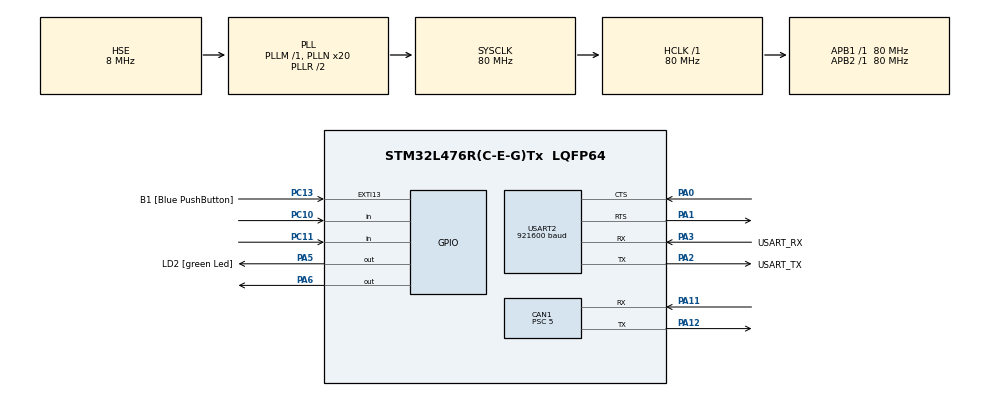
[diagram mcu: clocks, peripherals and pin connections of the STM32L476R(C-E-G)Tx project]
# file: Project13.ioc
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CAN1.ABOM=ENABLE
CAN1.BS1=CAN_BS1_13TQ
CAN1.BS2=CAN_BS2_2TQ
CAN1.CalculateBaudRate=1000000
CAN1.CalculateTimeBit=1000
CAN1.CalculateTimeQuantum=62.5
CAN1.NART=ENABLE
CAN1.Prescaler=5
Mcu.Family=STM32L4
Mcu.Name=STM32L476R(C-E-G)Tx
Mcu.Package=LQFP64
NVIC.CAN1_TX_IRQn=true\:0\:0\:false\:false\:true\:true\:true\:true
NVIC.EXTI15_10_IRQn=true\:0\:0\:false\:false\:true\:true\:true\:true
NVIC.PriorityGroup=NVIC_PRIORITYGROUP_4
NVIC.TIM6_DAC_IRQn=true\:0\:0\:false\:false\:true\:true\:true\:true
PA0.Mode=CTS_RTS
PA0.Signal=USART2_CTS
PA1.Mode=CTS_RTS
PA1.Signal=USART2_RTS
PA11.Mode=CAN_Activate
PA11.Signal=CAN1_RX
PA12.Mode=CAN_Activate
PA12.Signal=CAN1_TX
PA13\ (JTMS-SWDIO).GPIO_Label=TMS
PA13\ (JTMS-SWDIO).Mode=Serial_Wire
PA13\ (JTMS-SWDIO).Signal=SYS_JTMS-SWDIO
PA14\ (JTCK-SWCLK).GPIO_Label=TCK
PA14\ (JTCK-SWCLK).Mode=Serial_Wire
PA14\ (JTCK-SWCLK).Signal=SYS_JTCK-SWCLK
PA2.GPIO_Label=USART_TX
PA2.GPIO_Mode=GPIO_MODE_AF_PP
PA2.GPIO_PuPd=GPIO_NOPULL
PA2.GPIO_Speed=GPIO_SPEED_FREQ_VERY_HIGH
PA2.Mode=Asynchronous
PA2.Signal=USART2_TX
PA3.GPIO_Label=USART_RX
PA3.GPIO_Mode=GPIO_MODE_AF_PP
PA3.GPIO_PuPd=GPIO_NOPULL
PA3.GPIO_Speed=GPIO_SPEED_FREQ_VERY_HIGH
PA3.Mode=Asynchronous
PA3.Signal=USART2_RX
PA5.GPIO_Label=LD2 [green Led]
PA5.GPIO_ModeDefaultOutputPP=GPIO_MODE_OUTPUT_PP
PA5.GPIO_PuPd=GPIO_NOPULL
PA5.GPIO_Speed=GPIO_SPEED_FREQ_LOW
PA5.Signal=GPIO_Output
PA6.Signal=GPIO_Output
PB3\ (JTDO-TRACESWO).GPIO_Label=SWO
PB3\ (JTDO-TRACESWO).Signal=SYS_JTDO-SWO
PC10.Signal=GPIO_Input
PC11.Signal=GPIO_Input
PC13.GPIO_Label=B1 [Blue PushButton]
PC13.GPIO_ModeDefaultEXTI=GPIO_MODE_IT_RISING
PC13.GPIO_PuPd=GPIO_NOPULL
PC13.Signal=GPXTI13
PC14-OSC32_IN\ (PC14).Signal=RCC_OSC32_IN
PC15-OSC32_OUT\ (PC15).Signal=RCC_OSC32_OUT
PH0-OSC_IN\ (PH0).Mode=HSE-External-Clock-Source
PH0-OSC_IN\ (PH0).Signal=RCC_OSC_IN
PH1-OSC_OUT\ (PH1).Signal=RCC_OSC_OUT
ProjectManager.HeapSize=0x200
ProjectManager.StackSize=0x400
ProjectManager.TargetToolchain=STM32CubeIDE
RCC.ADCFreq_Value=32000000
RCC.AHBFreq_Value=80000000
RCC.APB1Freq_Value=80000000
RCC.APB1TimFreq_Value=80000000
RCC.APB2Freq_Value=80000000
RCC.APB2TimFreq_Value=80000000
RCC.CortexFreq_Value=80000000
RCC.HCLKFreq_Value=80000000
RCC.HSE_VALUE=8000000
RCC.HSI_VALUE=16000000
RCC.LSE_VALUE=32768
RCC.MSI_VALUE=4000000
RCC.PLLN=20
RCC.PLLSourceVirtual=RCC_PLLSOURCE_HSE
RCC.PREFETCH_ENABLE=1
RCC.SYSCLKFreq_VALUE=80000000
RCC.SYSCLKSource=RCC_SYSCLKSOURCE_PLLCLK
RCC.USBFreq_Value=32000000
RCC.VCOOutputFreq_Value=160000000
TIM6.Period=50000-1
TIM6.Prescaler=4-1
USART2.AutoBaudRateEnableParam=UART_ADVFEATURE_AUTOBAUDRATE_DISABLE
USART2.BaudRate=921600
USART2.OverSampling=UART_OVERSAMPLING_8
USART2.VirtualMode-Asynchronous=VM_ASYNC
VP_TIM6_VS_ClockSourceINT.Mode=Enable_Timer
board=NUCLEO-L476RG

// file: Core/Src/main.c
/* USER CODE BEGIN Header */
/**
 ******************************************************************************
 * AUTHOR:  Mohammad Ghanatian, PhD Student, Department of Mechanical Engineering, The University of Alabama
 *
 *
 * @file           : main.c
 * @brief          : Main program body
 ******************************************************************************
 * @attention
 *
 * Copyright (c) 2024 STMicroelectronics.
 * All rights reserved.
 *
 * This software is licensed under terms that can be found in the LICENSE file
 * in the root directory of this software component.
 * If no LICENSE file comes with this software, it is provided AS-IS.
 *
 ******************************************************************************
 */
/* USER CODE END Header */
#include "main.h"

/* USER CODE BEGIN Includes */
#include <string.h>
#include <stdio.h>
#include <stdint.h>
#include <math.h>

/* USER CODE END Includes */

/* USER CODE BEGIN PTD */
/* Global Variables */
volatile uint8_t msg_ready = 0;
volatile uint8_t update_control_params = 0;
volatile uint8_t update_button=0;
volatile char uart_msg_buffer[50];
/* USER CODE END PTD */

CAN_HandleTypeDef hcan1;

TIM_HandleTypeDef htim6;

UART_HandleTypeDef huart2;

/* USER CODE BEGIN PV */
// limit data to be within bounds (specific to the AK80-9 motor)
#define P_MIN -12.5f	//position
#define P_MAX 12.5f
#define V_MIN -50.0f	//velocity
#define V_MAX 50.0f
#define T_MIN -18.0f	//torque
#define T_MAX 18.0f
#define Kp_MIN 0.0f
#define Kp_MAX 500.0f
#define Kd_MIN 0.0f
#define Kd_MAX 5.0f

/* USER CODE END PV */

void SystemClock_Config(void);
static void MX_GPIO_Init(void);
static void MX_USART2_UART_Init(void);
static void MX_CAN1_Init(void);
static void MX_TIM6_Init(void);
/* USER CODE BEGIN PFP */
void CAN1_Tx_motor_on(int);
void CAN1_Tx_motor_zero(int);
void CAN1_Tx_motor_off(int);
void CAN1_Rx_message_read(void);
float interpolateHipAngle(float);
float interpolateKneeAngle(float);
void Stop_Motors(int, int, int, int);

/* Function Prototypes */
void handleRightButtonPress();
void handleLeftButtonPress();
void updateControlParameters();
void updateRamp(int motorIdx); // NEW: Prototype for updateRamp function

// Prototype of the template function

/* USER CODE END PFP */

/* USER CODE BEGIN 0 */
CAN_TxHeaderTypeDef TxHeader;
CAN_RxHeaderTypeDef RxHeader;

uint8_t TxData[8];	//08 bytes of data transmit array, data type dictated by HAL
uint8_t RxData[8];	//08 bytes of data receive array, data type dictated by HAL

uint32_t TxMailbox;	//data type dictated by HAL

int heelSwitchLeft=2;
int heelSwitchRight=0;

int previous_heelSwitchRight = 0;
int previous_heelSwitchLeft = 0;

//Receiving parameter variables
//for motor 1
float position_1 = 0;
float velocity_1 = 0;
float torque_1 = 0;
float temp_1 = 0;
//for motor 2
float position_2 = 0;
float velocity_2 = 0;
float torque_2 = 0;
float temp_2 = 0;
//for motor 3
float position_3 = 0;
float velocity_3 = 0;
float torque_3 = 0;
float temp_3 = 0;
//for motor 4
float position_4 = 0;
float velocity_4 = 0;
float torque_4 = 0;
float temp_4 = 0;

float wPos1 = 0;
float wPos2 = 0;
float wPos3 = 0;
float wPos4 = 0;

float posF1 = 0;
float posF2 = 0;
float posF3 = 0;
float posF4 = 0;

float rAngle1=0;
float rAngle2=0;
float rAngle3=0;
float rAngle4=0;

//********************************************************************************

// PID variables
int motorID1 = 1;
int motorID2 = 2;
int motorID3 = 3;
int motorID4 = 4;

int motorActivated1 = 1;
int motorActivated2 = 1;
int motorActivated3 = 1;
int motorActivated4 = 1;

double Kp1;
double Kd1;

double Kp2;
double Kd2;

double Kp3;
double Kd3;

double Kp4;
double Kd4;

double samplingTime = 2.5;	//ms

double error1, lastError1 = 0;
double integral1 = 0;
double derivative1;
float torqueF1 = 0;
float speedF1 = 0;
float lastPos1;
float torqSignal1 = 0;

double error2, lastError2 = 0;
double integral2 = 0;
double derivative2;
float torqueF2 = 0;
float speedF2 = 0;
float lastPos2;
float torqSignal2 = 0;

double error3, lastError3 = 0;
double integral3 = 0;
double derivative3;
float torqueF3 = 0;
float speedF3 = 0;
float lastPos3;
float torqSignal3 = 0;

double error4, lastError4 = 0;
double integral4 = 0;
double derivative4;
float torqueF4 = 0;
float speedF4 = 0;
float lastPos4;
float torqSignal4 = 0;

float startTime = 0;
float currentTime = 0;
float ttime = 0;
float ttime1 = 0;
float ttime2 = 0;

uint32_t RAMP_DURATION = 40; // ms

// MODIFIED Ramp Struct for smooth transitions
typedef struct {
    float start;        // Starting value of the ramp
    float target;       // Desired final value of the ramp
    float current;      // Current value during the ramp
    uint32_t startTime; // Tick count when the ramp started
    uint8_t active;     // Flag to indicate if a ramp is in progress (using uint8_t as boolean)
    uint32_t duration;  // Duration of the ramp in milliseconds
} Ramp;

Ramp ramp[4]; // One for each rAngle1 to rAngle4

//********************************************************************************

float saturate(float x, float x_min, float x_max) {
	if (x < x_min)
		x = x_min;
	else if (x > x_max)
		x = x_max;
	return x;
}

//When sending packets, all numbers need to go through the following function to be converted into integer values before being sent to the motor
int float_to_uint(float x, float x_min, float x_max, unsigned int bits) {
	//Converts a float to an unsigned int, given range and number of intended bits
	float span = x_max - x_min;
	if (x < x_min)
		x = x_min;
	else if (x > x_max)
		x = x_max;
	return (int) ((x - x_min) * ((float) ((1 << bits) / span)));
}

//When receiving, convert all values to floating-point numbers using the following function
float uint_to_float(int x_int, float x_min, float x_max, int bits) {
	// converts unsigned int to float, given range and number of intended bits
	float span = x_max - x_min;
	float offset = x_min;
	return ((float) x_int) * span / ((float) ((1 << bits) - 1)) + offset;
}

/* USER CODE END 0 */

int main(void)
{

  /* MCU Configuration--------------------------------------------------------*/

  /* Reset of all peripherals, Initializes the Flash interface and the Systick. */
  HAL_Init();

  /* Configure the system clock */
  SystemClock_Config();

  /* Initialize all configured peripherals */
  MX_GPIO_Init();
  MX_USART2_UART_Init();
  MX_CAN1_Init();
  MX_TIM6_Init();
  /* USER CODE BEGIN 2 */
	if (HAL_CAN_Start(&hcan1) != HAL_OK) //CAN is started and checked for error.
			{
		Error_Handler();
	}
	CAN1_Tx_motor_on(motorID1);
	CAN1_Rx_message_read();

	CAN1_Tx_motor_zero(motorID1);
	CAN1_Rx_message_read();

	char msg[50];
	sprintf(msg, "Motor 1 Initialized!\r\n");
	HAL_UART_Transmit(&huart2, (uint8_t*) msg, strlen(msg), HAL_MAX_DELAY);

	CAN1_Tx_motor_on(motorID2);
	CAN1_Rx_message_read();

	CAN1_Tx_motor_zero(motorID2);
	CAN1_Rx_message_read();

	sprintf(msg, "Motor 2 Initialized!\r\n");
	HAL_UART_Transmit(&huart2, (uint8_t*) msg, strlen(msg), HAL_MAX_DELAY);

	CAN1_Tx_motor_on(motorID3);
	CAN1_Rx_message_read();

	CAN1_Tx_motor_zero(motorID3);
	CAN1_Rx_message_read();

	sprintf(msg, "Motor 3 Initialized!\r\n");
	HAL_UART_Transmit(&huart2, (uint8_t*) msg, strlen(msg), HAL_MAX_DELAY);

	CAN1_Tx_motor_on(motorID4);
	CAN1_Rx_message_read();

	CAN1_Tx_motor_zero(motorID4);
	CAN1_Rx_message_read();

	sprintf(msg, "Motor 4 Initialized!\r\n");
	HAL_UART_Transmit(&huart2, (uint8_t*) msg, strlen(msg), HAL_MAX_DELAY);

	// Start timer
	HAL_TIM_Base_Start_IT(&htim6);

	// MODIFIED: Initialize the ramps
	for (int i = 0; i < 4; i++) {
	    ramp[i].active = 0;     // Not active initially
	    ramp[i].current = 0.0f; // Start at 0 radians (or your initial desired position)
	    ramp[i].target = 0.0f;  // Target also 0 initially
	    ramp[i].start = 0.0f;   // Start of ramp also 0
	    ramp[i].startTime = 0;  // No start time yet
	    ramp[i].duration = RAMP_DURATION; // Use the defined constant
	}

//	cycle = 0;

  /* USER CODE END 2 */

  /* Infinite loop */
  while (1)
  {

    /* USER CODE BEGIN 3 */

	  if (update_control_params) {
	      updateControlParameters();
	      update_control_params = 0;
	  }

	  if (update_button) {
		  updateButtons();
		  update_button = 0;
	  }
  }
  /* USER CODE END 3 */
}

void SystemClock_Config(void)
{
  RCC_OscInitTypeDef RCC_OscInitStruct = {0};
  RCC_ClkInitTypeDef RCC_ClkInitStruct = {0};

  /** Configure the main internal regulator output voltage
  */
  if (HAL_PWREx_ControlVoltageScaling(PWR_REGULATOR_VOLTAGE_SCALE1) != HAL_OK)
  {
    Error_Handler();
  }

  /** Initializes the RCC Oscillators according to the specified parameters
  * in the RCC_OscInitTypeDef structure.
  */
  RCC_OscInitStruct.OscillatorType = RCC_OSCILLATORTYPE_HSE;
  RCC_OscInitStruct.HSEState = RCC_HSE_BYPASS;
  RCC_OscInitStruct.PLL.PLLState = RCC_PLL_ON;
  RCC_OscInitStruct.PLL.PLLSource = RCC_PLLSOURCE_HSE;
  RCC_OscInitStruct.PLL.PLLM = 1;
  RCC_OscInitStruct.PLL.PLLN = 20;
  RCC_OscInitStruct.PLL.PLLP = RCC_PLLP_DIV7;
  RCC_OscInitStruct.PLL.PLLQ = RCC_PLLQ_DIV2;
  RCC_OscInitStruct.PLL.PLLR = RCC_PLLR_DIV2;
  if (HAL_RCC_OscConfig(&RCC_OscInitStruct) != HAL_OK)
  {
    Error_Handler();
  }

  /** Initializes the CPU, AHB and APB buses clocks
  */
  RCC_ClkInitStruct.ClockType = RCC_CLOCKTYPE_HCLK|RCC_CLOCKTYPE_SYSCLK
                              |RCC_CLOCKTYPE_PCLK1|RCC_CLOCKTYPE_PCLK2;
  RCC_ClkInitStruct.SYSCLKSource = RCC_SYSCLKSOURCE_PLLCLK;
  RCC_ClkInitStruct.AHBCLKDivider = RCC_SYSCLK_DIV1;
  RCC_ClkInitStruct.APB1CLKDivider = RCC_HCLK_DIV1;
  RCC_ClkInitStruct.APB2CLKDivider = RCC_HCLK_DIV1;

  if (HAL_RCC_ClockConfig(&RCC_ClkInitStruct, FLASH_LATENCY_4) != HAL_OK)
  {
    Error_Handler();
  }
}

static void MX_CAN1_Init(void)
{

  hcan1.Instance = CAN1;
  hcan1.Init.Prescaler = 5;
  hcan1.Init.Mode = CAN_MODE_NORMAL;
  hcan1.Init.SyncJumpWidth = CAN_SJW_1TQ;
  hcan1.Init.TimeSeg1 = CAN_BS1_13TQ;
  hcan1.Init.TimeSeg2 = CAN_BS2_2TQ;
  hcan1.Init.TimeTriggeredMode = DISABLE;
  hcan1.Init.AutoBusOff = ENABLE;
  hcan1.Init.AutoWakeUp = DISABLE;
  hcan1.Init.AutoRetransmission = ENABLE;
  hcan1.Init.ReceiveFifoLocked = DISABLE;
  hcan1.Init.TransmitFifoPriority = DISABLE;
  if (HAL_CAN_Init(&hcan1) != HAL_OK)
  {
    Error_Handler();
  }
  /* USER CODE BEGIN CAN1_Init 2 */

	//This is the CAN filter configuration (part of the CAN_INIT code)
	CAN_FilterTypeDef canfilterconfig;

	canfilterconfig.FilterActivation = CAN_FILTER_ENABLE;
	canfilterconfig.FilterBank = 0; // which filter bank to use from the assigned ones
	canfilterconfig.FilterFIFOAssignment = CAN_RX_FIFO0; //this has to be mentioned (FIFO0/ FIFO1)
	canfilterconfig.FilterIdHigh = 0; //Next 04 lines --> no filter mask protocol is going on. All messages are allowed to pass to Nucleo (Accept all frames)
	canfilterconfig.FilterIdLow = 0x0000;
	canfilterconfig.FilterMaskIdHigh = 0;
	canfilterconfig.FilterMaskIdLow = 0x0000;
	canfilterconfig.FilterMode = CAN_FILTERMODE_IDMASK;
	canfilterconfig.FilterScale = CAN_FILTERSCALE_32BIT;
	canfilterconfig.SlaveStartFilterBank = 0; // how many filters to assign to the CAN1 (master can)

	if (HAL_CAN_ConfigFilter(&hcan1, &canfilterconfig) != HAL_OK) {
		Error_Handler();
	}
  /* USER CODE END CAN1_Init 2 */

}

static void MX_TIM6_Init(void)
{

  TIM_MasterConfigTypeDef sMasterConfig = {0};

  htim6.Instance = TIM6;
  htim6.Init.Prescaler = 4-1;
  htim6.Init.CounterMode = TIM_COUNTERMODE_UP;
  htim6.Init.Period = 50000-1;
  htim6.Init.AutoReloadPreload = TIM_AUTORELOAD_PRELOAD_DISABLE;
  if (HAL_TIM_Base_Init(&htim6) != HAL_OK)
  {
    Error_Handler();
  }
  sMasterConfig.MasterOutputTrigger = TIM_TRGO_RESET;
  sMasterConfig.MasterSlaveMode = TIM_MASTERSLAVEMODE_DISABLE;
  if (HAL_TIMEx_MasterConfigSynchronization(&htim6, &sMasterConfig) != HAL_OK)
  {
    Error_Handler();
  }

}

static void MX_USART2_UART_Init(void)
{

  huart2.Instance = USART2;
  huart2.Init.BaudRate = 921600;
  huart2.Init.WordLength = UART_WORDLENGTH_8B;
  huart2.Init.StopBits = UART_STOPBITS_1;
  huart2.Init.Parity = UART_PARITY_NONE;
  huart2.Init.Mode = UART_MODE_TX_RX;
  huart2.Init.HwFlowCtl = UART_HWCONTROL_RTS_CTS;
  huart2.Init.OverSampling = UART_OVERSAMPLING_8;
  huart2.Init.OneBitSampling = UART_ONE_BIT_SAMPLE_DISABLE;
  huart2.AdvancedInit.AdvFeatureInit = UART_ADVFEATURE_NO_INIT;
  if (HAL_UART_Init(&huart2) != HAL_OK)
  {
    Error_Handler();
  }

}

static void MX_GPIO_Init(void)
{
  GPIO_InitTypeDef GPIO_InitStruct = {0};

  /* GPIO Ports Clock Enable */
  __HAL_RCC_GPIOC_CLK_ENABLE();
  __HAL_RCC_GPIOH_CLK_ENABLE();
  __HAL_RCC_GPIOA_CLK_ENABLE();
  __HAL_RCC_GPIOB_CLK_ENABLE();

  /*Configure GPIO pin Output Level */
  HAL_GPIO_WritePin(GPIOA, LD2_Pin|GPIO_PIN_6, GPIO_PIN_RESET);

  /*Configure GPIO pin : B1_Pin */
  GPIO_InitStruct.Pin = B1_Pin;
  GPIO_InitStruct.Mode = GPIO_MODE_IT_RISING;
  GPIO_InitStruct.Pull = GPIO_NOPULL;
  HAL_GPIO_Init(B1_GPIO_Port, &GPIO_InitStruct);

  /*Configure GPIO pins : LD2_Pin PA6 */
  GPIO_InitStruct.Pin = LD2_Pin|GPIO_PIN_6;
  GPIO_InitStruct.Mode = GPIO_MODE_OUTPUT_PP;
  GPIO_InitStruct.Pull = GPIO_NOPULL;
  GPIO_InitStruct.Speed = GPIO_SPEED_FREQ_LOW;
  HAL_GPIO_Init(GPIOA, &GPIO_InitStruct);

  /*Configure GPIO pins : PC10 PC11 */
  GPIO_InitStruct.Pin = GPIO_PIN_10|GPIO_PIN_11;
  GPIO_InitStruct.Mode = GPIO_MODE_INPUT;
  GPIO_InitStruct.Pull = GPIO_NOPULL;
  HAL_GPIO_Init(GPIOC, &GPIO_InitStruct);

  /* EXTI interrupt init*/
  HAL_NVIC_SetPriority(EXTI15_10_IRQn, 0, 0);
  HAL_NVIC_EnableIRQ(EXTI15_10_IRQn);

}

/* USER CODE BEGIN 4 */

void CAN1_Tx_motor_on(int motor_id) {
	TxHeader.DLC = 8;	//data length
	TxHeader.ExtId = 0;
	TxHeader.IDE = CAN_ID_STD;	//standard 11 bit data frame, not extended.
	TxHeader.RTR = CAN_RTR_DATA;
	TxHeader.StdId = motor_id;	//ID of the motor 01
	TxHeader.TransmitGlobalTime = DISABLE;

	TxData[0] = 0xFF;
	TxData[1] = 0xFF;
	TxData[2] = 0xFF;
	TxData[3] = 0xFF;
	TxData[4] = 0xFF;
	TxData[5] = 0xFF;
	TxData[6] = 0xFF;
	TxData[7] = 0xFC;

	while (HAL_CAN_GetTxMailboxesFreeLevel(&hcan1) == 0) {
		// No available mailbox, wait and retry
		HAL_Delay(1); // Short delay to prevent a tight loop
		char msg[50];
		sprintf(msg, "Transmission needed wait!\r\n");
		HAL_UART_Transmit(&huart2, (uint8_t*) msg, strlen(msg), HAL_MAX_DELAY);
	}

	//message is transmitted through CAN
	if (HAL_CAN_AddTxMessage(&hcan1, &TxHeader, TxData, &TxMailbox) != HAL_OK) {
		Error_Handler();
	}

//	// Polling method, Wait for message to get out of pending state, that means wait until the message is transmitted successfully.
//	while (HAL_CAN_IsTxMessagePending(&hcan1, TxMailbox))
//		;

}

void CAN1_Tx_motor_zero(int motor_id) {
	TxHeader.DLC = 8;	//data length
	TxHeader.ExtId = 0;
	TxHeader.IDE = CAN_ID_STD;	//standard 11 bit data frame, not extended.
	TxHeader.RTR = CAN_RTR_DATA;
	TxHeader.StdId = motor_id;	//ID of the motor 01
	TxHeader.TransmitGlobalTime = DISABLE;

	TxData[0] = 0xFF;
	TxData[1] = 0xFF;
	TxData[2] = 0xFF;
	TxData[3] = 0xFF;
	TxData[4] = 0xFF;
	TxData[5] = 0xFF;
	TxData[6] = 0xFF;
	TxData[7] = 0xFE;

	while (HAL_CAN_GetTxMailboxesFreeLevel(&hcan1) == 0) {
		// No available mailbox, wait and retry
		HAL_Delay(1); // Short delay to prevent a tight loop
		char msg[50];
		sprintf(msg, "Transmission needed wait!\r\n");
		HAL_UART_Transmit(&huart2, (uint8_t*) msg, strlen(msg), HAL_MAX_DELAY);
	}

	//message is transmitted through CAN
	if (HAL_CAN_AddTxMessage(&hcan1, &TxHeader, TxData, &TxMailbox) != HAL_OK) {
		Error_Handler();
	}

//	// Polling method, Wait for message to get out of pending state, that means wait until the message is transmitted successfully.
//	while (HAL_CAN_IsTxMessagePending(&hcan1, TxMailbox))
//		;
}

void CAN1_Tx_motor_off(int motor_id) {
	TxHeader.DLC = 8;	//data length
	TxHeader.ExtId = 0;
	TxHeader.IDE = CAN_ID_STD;	//standard 11 bit data frame, not extended.
	TxHeader.RTR = CAN_RTR_DATA;
	TxHeader.StdId = motor_id;	//ID of the motor 01
	TxHeader.TransmitGlobalTime = DISABLE;

	TxData[0] = 0xFF;
	TxData[1] = 0xFF;
	TxData[2] = 0xFF;
	TxData[3] = 0xFF;
	TxData[4] = 0xFF;
	TxData[5] = 0xFF;
	TxData[6] = 0xFF;
	TxData[7] = 0xFD;

	while (HAL_CAN_GetTxMailboxesFreeLevel(&hcan1) == 0) {
		// No available mailbox, wait and retry
		HAL_Delay(1); // Short delay to prevent a tight loop
		char msg[50];
		sprintf(msg, "Transmission needed wait!\r\n");
		HAL_UART_Transmit(&huart2, (uint8_t*) msg, strlen(msg), HAL_MAX_DELAY);
	}
	//message is transmitted through CAN
	if (HAL_CAN_AddTxMessage(&hcan1, &TxHeader, TxData, &TxMailbox) != HAL_OK) {
		Error_Handler();
	}

//	// Polling method, Wait for message to get out of pending state, that means wait until the message is transmitted successfully.
//	while (HAL_CAN_IsTxMessagePending(&hcan1, TxMailbox))
//		;
}

void CAN1_Tx_send_to_motor(int motor_id, float pos, float vel, float kp,
		float kd, float torque) {
//	// For UART
//	char msg[50];

	TxHeader.DLC = 8;	//data length 08 bytes
	TxHeader.ExtId = 0;
	TxHeader.IDE = CAN_ID_STD;	//standard 11 bit data frame, not extended.
	TxHeader.RTR = CAN_RTR_DATA;
	TxHeader.StdId = motor_id;	//ID of the motor 01
	TxHeader.TransmitGlobalTime = DISABLE;

	//ensure that the values of pos, vel, kp, kd, and torque fall within specified bounds
	pos = fminf(fmaxf(P_MIN, pos), P_MAX);
	vel = fminf(fmaxf(V_MIN, vel), V_MAX);
	kp = fminf(fmaxf(Kp_MIN, kp), Kp_MAX);
	kd = fminf(fmaxf(Kd_MIN, kd), Kd_MAX);
	torque = fminf(fmaxf(T_MIN, torque), T_MAX);

	// convert floats to unsigned integers of intended bit size (int uses 4 bytes, 32 bits (same as floats) in this compiler).
	int p_int = float_to_uint(pos, P_MIN, P_MAX, 16);
	int v_int = float_to_uint(vel, V_MIN, V_MAX, 12);
	int kp_int = float_to_uint(kp, Kp_MIN, Kp_MAX, 12);
	int kd_int = float_to_uint(kd, Kd_MIN, Kd_MAX, 12);
	int t_int = float_to_uint(torque, T_MIN, T_MAX, 12);

	// pack integer values into the CAN transfer data array
	//here, the integer values are divided into 08 bit outputs
	TxData[0] = p_int >> 8; // Position High 8
	TxData[1] = p_int & 0xFF; // Position Low 8
	TxData[2] = v_int >> 4; // Speed High 8 bits
	TxData[3] = ((v_int & 0xF) << 4) | (kp_int >> 8); // Speed Low 4 bits, KP High 4 bits
	TxData[4] = kp_int & 0xFF; // KP Low 8 bits
	TxData[5] = kd_int >> 4; // Kd High 8 bits
	TxData[6] = ((kd_int & 0xF) << 4) | (t_int >> 8); // KP Low 4 bits, Torque High 4 bits
	TxData[7] = t_int & 0xff; // Torque Low 8 bits

	while (HAL_CAN_GetTxMailboxesFreeLevel(&hcan1) == 0) {
		// No available mailbox, wait and retry
		HAL_Delay(1); // Short delay to prevent a tight loop
		char msg[50];
		sprintf(msg, "Transmission needed wait!\r\n");
		HAL_UART_Transmit(&huart2, (uint8_t*) msg, strlen(msg), HAL_MAX_DELAY);
	}
	//message is transmitted through CAN
	if (HAL_CAN_AddTxMessage(&hcan1, &TxHeader, TxData, &TxMailbox) != HAL_OK) {
		Error_Handler();
	}

//	// Polling method, Wait for message to get out of pending state, that means wait until the message is transmitted successfully.
//	while (HAL_CAN_IsTxMessagePending(&hcan1, TxMailbox));

}

void CAN1_Rx_message_read(void) {

//	char msg[50];	//for showing over the UART

	//we are waiting for at least one message into the RX FIFO0. When that happens, the following code will get out of the loop.
	//In RX FIFO, you can store 03 CAN messages.
	uint32_t startTick = HAL_GetTick();
	while (!HAL_CAN_GetRxFifoFillLevel(&hcan1, CAN_RX_FIFO0))
	{
	    if (HAL_GetTick() - startTick > 10)  // 100 ms timeout
	    {
	        // handle timeout
	        return;
	    }
	}

	//Polling based reception of message
	if (HAL_CAN_GetRxMessage(&hcan1, CAN_RX_FIFO0, &RxHeader, RxData) != HAL_OK) //we have to specify the FIFO number
			{
		Error_Handler();
	}

	//Unpacking the received parameter integers from the RxData
	int id = RxData[0]; //motor ID
	int p_int = (RxData[1] << 8) | RxData[2];	//Motor position data
	int v_int = (RxData[3] << 4) | (RxData[4] >> 4);	//Motor velocity data
	int i_int = ((RxData[4] & 0xF) << 8) | RxData[5];	//Motor torque data
	int T_int = RxData[6];	//temperature data
	/// convert int to float
	float p = uint_to_float(p_int, P_MIN, P_MAX, 16);
	float v = uint_to_float(v_int, V_MIN, V_MAX, 12);
	float i = uint_to_float(i_int, T_MIN, T_MAX, 12);
	float T = T_int;
	if (id == motorID1)	//if motor 1 data is received
			{
		position_1 = p; // Read corresponding data based on ID
		velocity_1 = v;
		torque_1 = i;
		temp_1 = T - 40; // Temperature range: -40~215
	}
	if (id == motorID2)	//if motor 1 data is received
			{
		position_2 = p; // Read corresponding data based on ID
		velocity_2 = v;
		torque_2 = i;
		temp_2 = T - 40; // Temperature range: -40~215
	}
	if (id == motorID3)	//if motor 1 data is received
			{
		position_3 = p; // Read corresponding data based on ID
		velocity_3 = v;
		torque_3 = i;
		temp_3 = T - 40; // Temperature range: -40~215
	}
	if (id == motorID4)	//if motor 1 data is received
			{
		position_4 = p; // Read corresponding data based on ID
		velocity_4 = v;
		torque_4 = i;
		temp_4 = T - 40; // Temperature range: -40~215
	}

}

void signalMotors(float rAngle1, float rAngle2, float rAngle3, float rAngle4){

	// Command motor 1 and read current CAN message
	if (motorActivated1) {
		CAN1_Tx_send_to_motor(motorID1, -rAngle1, 0, Kp1, Kd1, 0); //position mode
	} else {
		CAN1_Tx_send_to_motor(motorID1, 0, 0, 0, 0, 0);
	}

	CAN1_Rx_message_read();
	posF1 = -position_1    * 180.0 / M_PI / 65 * 12;
	speedF1 = velocity_1;
	torqueF1 = torque_1;

	// Command motor 1 and read current CAN message
	if (motorActivated2) {
		CAN1_Tx_send_to_motor(motorID2, -rAngle2, 0, Kp2, Kd2, 0); //position mode
	} else {
		CAN1_Tx_send_to_motor(motorID2, 0, 0, 0, 0, 0);
	}

	CAN1_Rx_message_read();
	posF2 = -position_2    * 180.0 / M_PI / 65 * 12;
	speedF2 = velocity_2;
	torqueF2 = torque_2;

	// Command motor 1 and read current CAN message
	if (motorActivated3) {
		CAN1_Tx_send_to_motor(motorID3, rAngle3, 0, Kp3, Kd3, 0); //position mode
	} else {
		CAN1_Tx_send_to_motor(motorID3, 0, 0, 0, 0, 0);
	}

	CAN1_Rx_message_read();
	posF3 = position_3  * 180.0 / M_PI / 65 * 12;
	speedF3 = velocity_3;
	torqueF3 = torque_3;

	// Command motor 1 and read current CAN message
	if (motorActivated4) {
		CAN1_Tx_send_to_motor(motorID4, rAngle4, 0, Kp4, Kd4, 0); //position mode
	} else {
		CAN1_Tx_send_to_motor(motorID4, 0, 0, 0, 0, 0);
	}

	CAN1_Rx_message_read();
	posF4 = position_4 * 180.0 / M_PI / 65 * 12;
	speedF4 = velocity_4;
	torqueF4 = torque_4;

}

double hipFactorKp1=1;
double hipFactorKd1=1;

double AngleH1 = 20;
double AngleK1 = 5;
double AngleH2 = -5;
double AngleK2 = 10;
double AngleH3 = -20;
double AngleK3 = 15;
double AngleH4 = 40;
double AngleK4 = 50;

double tolerance=5;

//1      Swing Extension
double KpH1=3;
double KdH1=0.3;
double KpK1=3;
double KdK1=0.3;
//2     Stance Flexion/Extension
double KpH2=2.5;
double KdH2=0.3;
double KpK2=2.5;
double KdK2=0.3;
//3     Pre-Swing
double KpH3=3.5;
double KdH3=0.5;
double KpK3=3.5;
double KdK3=0.2;
//4     Swing Flexion
double KpH4=3.5;
double KdH4=0.2;
double KpK4=3.5;
double KdK4=0.2;

int skipForDelay=40;
int skippedRight=0;
int skippedLeft=0;

void HAL_TIM_PeriodElapsedCallback(TIM_HandleTypeDef *htim) {
    update_control_params = 1;
    update_button = 1;
}

void updateButtons(void){
    static uint8_t lastButtonStateRight = GPIO_PIN_RESET;
    static uint8_t lastButtonStateLeft = GPIO_PIN_RESET;

    uint8_t buttonStateRight = HAL_GPIO_ReadPin(GPIOC, GPIO_PIN_10);
    uint8_t buttonStateLeft = HAL_GPIO_ReadPin(GPIOC, GPIO_PIN_11);

	if (buttonStateRight == GPIO_PIN_SET && lastButtonStateRight == GPIO_PIN_RESET) {
		HAL_GPIO_TogglePin(LD2_GPIO_Port, LD2_Pin);
		if (heelSwitchRight==0 || heelSwitchRight==1) {
			heelSwitchRight++;
		    sprintf((char *)uart_msg_buffer, "Heel Switch Right Triggered!\r\n");
		    HAL_UART_Transmit(&huart2, (uint8_t *)uart_msg_buffer, strlen((char *)uart_msg_buffer), HAL_MAX_DELAY);
		}
	}

	if (buttonStateLeft == GPIO_PIN_SET && lastButtonStateLeft == GPIO_PIN_RESET) {
		HAL_GPIO_TogglePin(LD2_GPIO_Port, LD2_Pin);
		if (heelSwitchLeft==0 || heelSwitchLeft==1) {
			heelSwitchLeft=heelSwitchLeft+1;
	        sprintf((char *)uart_msg_buffer, "Heel Switch Left Triggered!\r\n");
	        HAL_UART_Transmit(&huart2, (uint8_t *)uart_msg_buffer, strlen((char *)uart_msg_buffer), HAL_MAX_DELAY);
		}
	}

    lastButtonStateRight = buttonStateRight;
    lastButtonStateLeft = buttonStateLeft;

}

void updateControlParameters() {
	HAL_GPIO_TogglePin(GPIOA, GPIO_PIN_6);

    // Define temporary variables for the calculated target angles (in radians for the motor)
    float rAngle_tar1, rAngle_tar2, rAngle_tar3, rAngle_tar4;

    // A small threshold to determine if a new ramp should be initiated
    // This prevents restarting a ramp if the target angle hasn't meaningfully changed
    const float ANGLE_CHANGE_THRESHOLD = 0.005f; // Radians, approx 0.28 degrees

    switch (heelSwitchLeft) {
        // Swing Extension
        case 1:
            Kp1 = KpH1;
            Kd1 = KdH1;
            Kp2 = KpK1;
            Kd2 = KdK1;
            rAngle_tar1 = AngleH1 * M_PI * 65 / (12 * 180.0);
            rAngle_tar2 = AngleK1 * M_PI * 65 / (12 * 180.0);
            break;
        // Stance
        case 2:
            Kp1 = KpH2;
            Kd1 = KdH2;
            Kp2 = KpK2;
            Kd2 = KdK2;
            rAngle_tar1 = AngleH2 * M_PI * 65 / (12 * 180.0);
            rAngle_tar2 = AngleK2 * M_PI * 65 / (12 * 180.0);
            if (-3 < speedF1 && speedF1 < 3 && posF1 < (AngleH2 + tolerance)) {
                heelSwitchLeft = 3;
            }
            break;
        // Preswing
        case 3:
            Kp1 = KpH3;
            Kd1 = KdH3;
            Kp2 = KpK3;
            Kd2 = KdK3;
            rAngle_tar1 = AngleH3 * M_PI * 65 / (12 * 180.0);
            rAngle_tar2 = AngleK3 * M_PI * 65 / (12 * 180.0);
            if (previous_heelSwitchRight == 1 && heelSwitchRight == 2 || heelSwitchRight == 3) {
                heelSwitchLeft = 5;
            }
            break;
        // Delay
        case 5:
            if (skippedLeft < skipForDelay) {
                skippedLeft++;
            } else {
                heelSwitchLeft = 4;
                skippedLeft = 0;
            }
            break;
        // Swing Flexion
        case 4:
            Kp1 = KpH4;
            Kd1 = KdH4;
            Kp2 = KpK4;
            Kd2 = KdK4;
            rAngle_tar1 = AngleH4 * M_PI * 65 / (12 * 180.0);
            rAngle_tar2 = AngleK4 * M_PI * 65 / (12 * 180.0);
            if (-1 < speedF2 && speedF2 < 1 && posF2 > (AngleK4 - tolerance)) {
                heelSwitchLeft = 1;
            }
            break;
    }

    // Initiate/Update Ramp for Motor 1 (Left Hip)
    // Check if the calculated target is significantly different or if the ramp is not active
    if (fabs(ramp[0].target - rAngle_tar1) > ANGLE_CHANGE_THRESHOLD && ramp[0].active == 0) {
        ramp[0].start = ramp[0].current; // Start the ramp from the current position
        ramp[0].target = rAngle_tar1;
        ramp[0].startTime = HAL_GetTick();
        ramp[0].active = 1;
        ramp[0].duration = RAMP_DURATION;
    }
    // Initiate/Update Ramp for Motor 2 (Left Knee)
    if (fabs(ramp[1].target - rAngle_tar2) > ANGLE_CHANGE_THRESHOLD && ramp[1].active == 0) {
        ramp[1].start = ramp[1].current;
        ramp[1].target = rAngle_tar2;
        ramp[1].startTime = HAL_GetTick();
        ramp[1].active = 1;
        ramp[1].duration = RAMP_DURATION;
    }

    switch (heelSwitchRight) {
        case 0:
            Kp3 = KpH1;
            Kd3 = KdH1;
            Kp4 = KpK1;
            Kd4 = KdK1;
            rAngle_tar3 = 0;
            rAngle_tar4 = 0;
            break;
        case 1:
            Kp3 = KpH1;
            Kd3 = KdH1;
            Kp4 = KpK1;
            Kd4 = KdK1;
            rAngle_tar3 = AngleH1 * M_PI * 65 / (12 * 180.0);
            rAngle_tar4 = AngleK1 * M_PI * 65 / (12 * 180.0);
            break;
        case 2:
            Kp3 = KpH2;
            Kd3 = KdH2;
            Kp4 = KpK2;
            Kd4 = KdK2;
            rAngle_tar3 = AngleH2 * M_PI * 65 / (12 * 180.0);
            rAngle_tar4 = AngleK2 * M_PI * 65 / (12 * 180.0);
            if (-3 < speedF3 && speedF3 < 3 && posF3 < (AngleH2 + tolerance)) {
                heelSwitchRight = 3;
            }
            break;
        case 3:
            Kp3 = KpH3;
            Kd3 = KdH3;
            Kp4 = KpK3;
            Kd4 = KdK3;
            rAngle_tar3 = AngleH3 * M_PI * 65 / (12 * 180.0);
            rAngle_tar4 = AngleK3 * M_PI * 65 / (12 * 180.0);
            if (previous_heelSwitchLeft == 1 && heelSwitchLeft == 2 || heelSwitchLeft==3) {
                heelSwitchRight = 5;
            }
            break;

        case 5:
            if (skippedRight < skipForDelay) {
                skippedRight++;
            } else {
                heelSwitchRight = 4;
                skippedRight = 0;
            }
            break;

        case 4:
            Kp3 = KpH4;
            Kd3 = KdH4;
            Kp4 = KpK4;
            Kd4 = KdK4;
            rAngle_tar3 = AngleH4 * M_PI * 65 / (12 * 180.0);
            rAngle_tar4 = AngleK4 * M_PI * 65 / (12 * 180.0);
            if (-1 < speedF4 && speedF4 < 1 && posF4 > (AngleH4 - tolerance)) {
                heelSwitchRight = 1;
            }
            break;
    }

    // Initiate/Update Ramp for Motor 3 (Right Hip)
	if (fabs(ramp[2].target - rAngle_tar3) > ANGLE_CHANGE_THRESHOLD && ramp[2].active == 0) {
		ramp[2].start = ramp[2].current;
		ramp[2].target = rAngle_tar3;
		ramp[2].startTime = HAL_GetTick();
		ramp[2].active = 1;
		ramp[2].duration = RAMP_DURATION;
	}
	// Initiate/Update Ramp for Motor 4 (Right Knee)
	if (fabs(ramp[3].target - rAngle_tar4) > ANGLE_CHANGE_THRESHOLD && ramp[3].active == 0) {
		ramp[3].start = ramp[3].current;
		ramp[3].target = rAngle_tar4;
		ramp[3].startTime = HAL_GetTick();
		ramp[3].active = 1;
		ramp[3].duration = RAMP_DURATION;
	}

	// --- Apply Ramping ---
	// Call updateRamp for each motor to smoothly change its current setpoint
	updateRamp(0); // Motor 1 (Left Hip)
	updateRamp(1); // Motor 2 (Left Knee)
	updateRamp(2); // Motor 3 (Right Hip)
	updateRamp(3); // Motor 4 (Right Knee)

	// Assign the current ramped values to the global rAngle variables
	// These are the actual setpoints sent to the motors
	rAngle1 = ramp[0].current;
	rAngle2 = ramp[1].current;
	rAngle3 = ramp[2].current;
	rAngle4 = ramp[3].current;

    signalMotors(rAngle1, rAngle2, rAngle3, rAngle4);
    previous_heelSwitchRight = heelSwitchRight;
    previous_heelSwitchLeft = heelSwitchLeft;

    HAL_GPIO_TogglePin(GPIOA, GPIO_PIN_6);
}

// NEW: Ramping function
void updateRamp(int motorIdx) {
    if (ramp[motorIdx].active) {
        uint32_t elapsedTime = HAL_GetTick() - ramp[motorIdx].startTime;
        float progress = (float)elapsedTime / (float)ramp[motorIdx].duration;

        if (progress >= 1.0f) {
            progress = 1.0f;
            ramp[motorIdx].active = 0; // Ramp finished
        }

        // Linear interpolation: current = start + (target - start) * progress
        ramp[motorIdx].current = ramp[motorIdx].start + (ramp[motorIdx].target - ramp[motorIdx].start) * progress;
    }
}

void Stop_Motors(int motor1, int motor2, int motor3, int motor4) {

	if (motor1) {
		motorActivated1 = 0;
	}
	if (motor2) {
		motorActivated2 = 0;
	}
	if (motor3) {
		motorActivated3 = 0;
	}
	if (motor4) {
		motorActivated4 = 0;
	}
}

/* USER CODE END 4 */

void Error_Handler(void)
{
  /* USER CODE BEGIN Error_Handler_Debug */
	/* User can add his own implementation to report the HAL error return state */
	char msg[50];
	sprintf(msg, "Error Handler Trigerred!\r\n");
	HAL_UART_Transmit(&huart2, (uint8_t*) msg, strlen(msg), HAL_MAX_DELAY);
	Stop_Motors(1, 1, 1, 1);

  /* USER CODE END Error_Handler_Debug */
}
